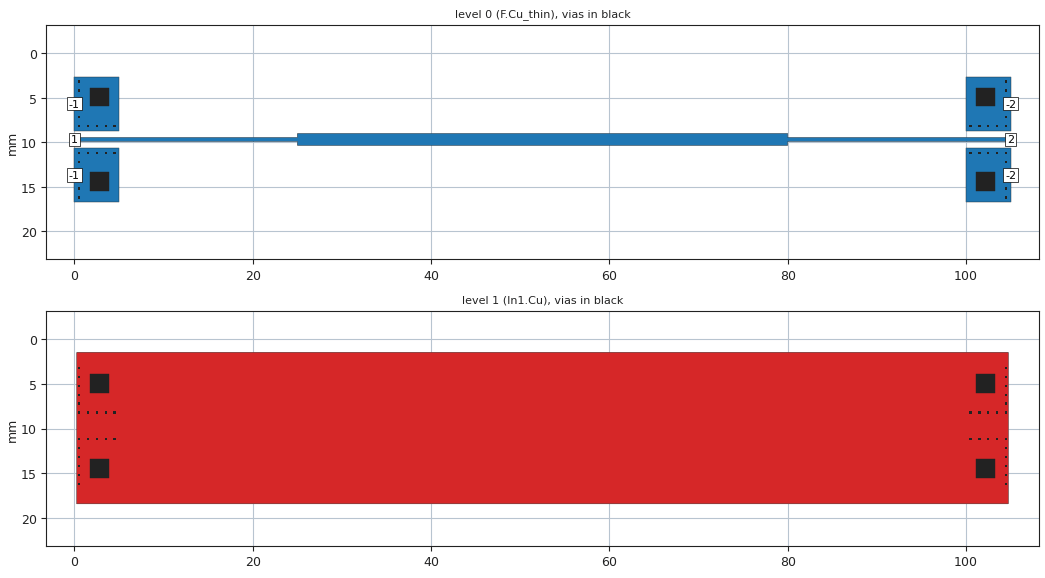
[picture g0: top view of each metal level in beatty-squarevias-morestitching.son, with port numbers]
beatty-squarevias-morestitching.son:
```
FTYP SONPROJ 19 ! Sonnet Project File
VER 18.56
HEADER
LIC antikernel2.1.51813
DAT 12/23/2022 09:48:16
BUILT_BY_CREATED xgeom 18.56 12/18/2022 19:56:31
BUILT_BY_SAVED sonnet 18.56
MDATE 12/23/2022 09:48:16
HDATE 12/23/2022 09:48:16
ANN Created by dxfgeo, Sonnet Software Inc.
END HEADER
DIM
ANG DEG
CAP PF
CON /OH
FREQ GHZ
IND NH
LNG MM
RES OH
END DIM
CONTROL
VARSWP
OPTIONS  -dj
SPEED 1
CACHE_ABS 2
Q_ACC N
END CONTROL
GEO
DRP1 LEFT NONE 5
DRP1 RIGHT NONE 5
TMET "Free Space" 0 FREESPACE 376.7303136 0 0 0
BMET "Free Space" 0 FREESPACE 376.7303136 0 0 0
MET "Copper_1oz+plated_thick_up" 1 TMM 58000000 0.5 0.0432 2
MET "Copper_1oz+plated_thin" 4 NOR 58000000 0.5 0.0432 
MET "Copper_0.5oz_thin" 2 NOR 58000000 0.5 0.0175 
MET "Copper_1oz+plated_thick_down" 3 TMM 58000000 0.5 0.0432 2 CDVY TDWN
BOX 4 105 20 8400 1600 20 0
      10 1 1 0 0 0 0 "Air"
      0.2021 3.61 1 0.0092 0 0 0 "Isola_FR408HR"
      1.1938 3.61 1 0.0092 0 0 0 "Isola_FR408HR"
      0.2021 3.61 1 0.0092 0 0 0 "Isola_FR408HR"
      10 1 1 0 0 0 0 "Air"
TECHLAY METAL F.Cu_thick <UNSPECIFIED> -1 -65534 CAD F.Cu drawing 
0 0 0 N 112 1 1 100 100 0 0 0 Y
END
END
TECHLAY METAL F.Cu_thin L1D0 -2 -65534 CAD F.Cu_thin drawing 
0 0 1 N 114 1 1 100 100 0 0 0 Y
END
END
TECHLAY VIA Via1 L3D0 -7 -65534 CAD Via1 drawing 
VIA POLYGON
0 0 -1 N 153 1 1 100 100 0 0 0 Y
TOLEVEL 3 RING NOCOVERS
END
END
TECHLAY METAL In1.Cu L2D0 -3 -65534 CAD In1.Cu drawing 
1 0 2 N 119 1 1 100 100 0 0 0 Y
END
END
TECHLAY METAL In2.Cu <UNSPECIFIED> -4 -65534 CAD In2.Cu drawing 
2 0 2 N 122 1 1 100 100 0 0 0 Y
END
END
TECHLAY METAL B.Cu_thick <UNSPECIFIED> -5 -65534 CAD B.Cu drawing 
3 0 3 N 125 1 1 100 100 0 0 0 Y
END
END
TECHLAY METAL B.Cu_thin <UNSPECIFIED> -6 -65534 CAD B.Cu_thin drawing 
3 0 1 N 127 1 1 100 100 0 0 0 Y
END
END
LORGN 0 20 U 
POR1 BOX
POLY 10 1
2
-2 50 0 0 0 105 5.7 
POR1 BOX
POLY 7 1
2
-2 50 0 0 0 105 13.7 
POR1 BOX
POLY 6 1
0
-1 50 0 0 0 0 13.7 
POR1 BOX
POLY 8 1
4
1 50 0 0 0 0 9.7 
POR1 BOX
POLY 8 1
14
2 50 0 0 0 105 9.7 
POR1 BOX
POLY 9 1
0
-1 50 0 0 0 0 5.7 
NUM 50
0 5 1 N 10 1 1 100 100 0 0 0 Y
TLAYNAM F.Cu_thin INH
USER_DAT FromImport
100 8.7
100 2.7
105 2.7
105 8.7
100 8.7
END
0 5 1 N 7 1 1 100 100 0 0 0 Y
TLAYNAM F.Cu_thin INH
USER_DAT FromImport
100 16.7
100 10.7
105 10.7
105 16.7
100 16.7
END
0 5 1 N 6 1 1 100 100 0 0 0 Y
TLAYNAM F.Cu_thin INH
USER_DAT FromImport
0 16.7
0 10.7
5 10.7
5 16.7
0 16.7
END
0 21 1 N 8 1 1 100 100 0 0 0 Y
TLAYNAM F.Cu_thin INH
USER_DAT FromImport
25.049 10.375
25.014 10.361
25 10.326
25 9.925
0 9.925
0 9.475
25 9.475
25 9.074
25.014 9.039
25.049 9.025
79.951 9.025
79.986 9.039
80 9.074
80 9.475
105 9.475
105 9.925
80 9.925
80 10.326
79.986 10.361
79.951 10.375
25.049 10.375
END
0 5 1 N 9 1 1 100 100 0 0 0 Y
TLAYNAM F.Cu_thin INH
USER_DAT FromImport
0 8.7
0 2.7
5 2.7
5 8.7
0 8.7
END
VIA POLYGON
0 5 -1 N 91 1 1 100 100 0 0 0 Y
TOLEVEL 3 RING NOCOVERS
TLAYNAM Via1 INH
USER_DAT FromImport
104.375 6.325
104.375 6.075
104.625 6.075
104.625 6.325
104.375 6.325
END
VIA POLYGON
0 5 -1 N 75 1 1 100 100 0 0 0 Y
TOLEVEL 3 RING NOCOVERS
TLAYNAM Via1 INH
USER_DAT FromImport
102.375 11.325
102.375 11.075
102.625 11.075
102.625 11.325
102.375 11.325
END
VIA POLYGON
0 5 -1 N 76 1 1 100 100 0 0 0 Y
TOLEVEL 3 RING NOCOVERS
TLAYNAM Via1 INH
USER_DAT FromImport
103.375 11.325
103.375 11.075
103.625 11.075
103.625 11.325
103.375 11.325
END
VIA POLYGON
0 5 -1 N 62 1 1 100 100 0 0 0 Y
TOLEVEL 3 RING NOCOVERS
TLAYNAM Via1 INH
USER_DAT FromImport
1.75 15.5
1.75 13.4
3.85 13.4
3.85 15.5
1.75 15.5
END
VIA POLYGON
0 5 -1 N 78 1 1 100 100 0 0 0 Y
TOLEVEL 3 RING NOCOVERS
TLAYNAM Via1 INH
USER_DAT FromImport
0.375 8.325
0.375 8.075
0.625 8.075
0.625 8.325
0.375 8.325
END
VIA POLYGON
0 5 -1 N 84 1 1 100 100 0 0 0 Y
TOLEVEL 3 RING NOCOVERS
TLAYNAM Via1 INH
USER_DAT FromImport
101.375 8.325
101.375 8.075
101.625 8.075
101.625 8.325
101.375 8.325
END
VIA POLYGON
0 5 -1 N 87 1 1 100 100 0 0 0 Y
TOLEVEL 3 RING NOCOVERS
TLAYNAM Via1 INH
USER_DAT FromImport
104.375 8.325
104.375 8.075
104.625 8.075
104.625 8.325
104.375 8.325
END
VIA POLYGON
0 5 -1 N 96 1 1 100 100 0 0 0 Y
TOLEVEL 3 RING NOCOVERS
TLAYNAM Via1 INH
USER_DAT FromImport
1.75 6
1.75 3.9
3.85 3.9
3.85 6
1.75 6
END
VIA POLYGON
0 5 -1 N 60 1 1 100 100 0 0 0 Y
TOLEVEL 3 RING NOCOVERS
TLAYNAM Via1 INH
USER_DAT FromImport
0.375 14.325
0.375 14.075
0.625 14.075
0.625 14.325
0.375 14.325
END
VIA POLYGON
0 5 -1 N 79 1 1 100 100 0 0 0 Y
TOLEVEL 3 RING NOCOVERS
TLAYNAM Via1 INH
USER_DAT FromImport
1.375 8.325
1.375 8.075
1.625 8.075
1.625 8.325
1.375 8.325
END
VIA POLYGON
0 5 -1 N 63 1 1 100 100 0 0 0 Y
TOLEVEL 3 RING NOCOVERS
TLAYNAM Via1 INH
USER_DAT FromImport
101.15 15.5
101.15 13.4
103.25 13.4
103.25 15.5
101.15 15.5
END
VIA POLYGON
0 5 -1 N 68 1 1 100 100 0 0 0 Y
TOLEVEL 3 RING NOCOVERS
TLAYNAM Via1 INH
USER_DAT FromImport
0.375 11.325
0.375 11.075
0.625 11.075
0.625 11.325
0.375 11.325
END
VIA POLYGON
0 5 -1 N 56 1 1 100 100 0 0 0 Y
TOLEVEL 3 RING NOCOVERS
TLAYNAM Via1 INH
USER_DAT FromImport
0.375 16.325
0.375 16.075
0.625 16.075
0.625 16.325
0.375 16.325
END
VIA POLYGON
0 5 -1 N 92 1 1 100 100 0 0 0 Y
TOLEVEL 3 RING NOCOVERS
TLAYNAM Via1 INH
USER_DAT FromImport
0.375 5.325
0.375 5.075
0.625 5.075
0.625 5.325
0.375 5.325
END
VIA POLYGON
0 5 -1 N 89 1 1 100 100 0 0 0 Y
TOLEVEL 3 RING NOCOVERS
TLAYNAM Via1 INH
USER_DAT FromImport
104.375 7.325
104.375 7.075
104.625 7.075
104.625 7.325
104.375 7.325
END
VIA POLYGON
0 5 -1 N 98 1 1 100 100 0 0 0 Y
TOLEVEL 3 RING NOCOVERS
TLAYNAM Via1 INH
USER_DAT FromImport
0.375 3.325
0.375 3.075
0.625 3.075
0.625 3.325
0.375 3.325
END
VIA POLYGON
0 5 -1 N 58 1 1 100 100 0 0 0 Y
TOLEVEL 3 RING NOCOVERS
TLAYNAM Via1 INH
USER_DAT FromImport
0.375 15.325
0.375 15.075
0.625 15.075
0.625 15.325
0.375 15.325
END
VIA POLYGON
0 5 -1 N 88 1 1 100 100 0 0 0 Y
TOLEVEL 3 RING NOCOVERS
TLAYNAM Via1 INH
USER_DAT FromImport
0.375 7.325
0.375 7.075
0.625 7.075
0.625 7.325
0.375 7.325
END
VIA POLYGON
0 5 -1 N 67 1 1 100 100 0 0 0 Y
TOLEVEL 3 RING NOCOVERS
TLAYNAM Via1 INH
USER_DAT FromImport
104.375 12.325
104.375 12.075
104.625 12.075
104.625 12.325
104.375 12.325
END
VIA POLYGON
0 5 -1 N 74 1 1 100 100 0 0 0 Y
TOLEVEL 3 RING NOCOVERS
TLAYNAM Via1 INH
USER_DAT FromImport
101.375 11.325
101.375 11.075
101.625 11.075
101.625 11.325
101.375 11.325
END
VIA POLYGON
0 5 -1 N 69 1 1 100 100 0 0 0 Y
TOLEVEL 3 RING NOCOVERS
TLAYNAM Via1 INH
USER_DAT FromImport
1.375 11.325
1.375 11.075
1.625 11.075
1.625 11.325
1.375 11.325
END
VIA POLYGON
0 5 -1 N 99 1 1 100 100 0 0 0 Y
TOLEVEL 3 RING NOCOVERS
TLAYNAM Via1 INH
USER_DAT FromImport
104.375 3.325
104.375 3.075
104.625 3.075
104.625 3.325
104.375 3.325
END
VIA POLYGON
0 5 -1 N 61 1 1 100 100 0 0 0 Y
TOLEVEL 3 RING NOCOVERS
TLAYNAM Via1 INH
USER_DAT FromImport
104.375 14.325
104.375 14.075
104.625 14.075
104.625 14.325
104.375 14.325
END
VIA POLYGON
0 5 -1 N 80 1 1 100 100 0 0 0 Y
TOLEVEL 3 RING NOCOVERS
TLAYNAM Via1 INH
USER_DAT FromImport
2.375 8.325
2.375 8.075
2.625 8.075
2.625 8.325
2.375 8.325
END
VIA POLYGON
0 5 -1 N 65 1 1 100 100 0 0 0 Y
TOLEVEL 3 RING NOCOVERS
TLAYNAM Via1 INH
USER_DAT FromImport
104.375 13.325
104.375 13.075
104.625 13.075
104.625 13.325
104.375 13.325
END
VIA POLYGON
0 5 -1 N 73 1 1 100 100 0 0 0 Y
TOLEVEL 3 RING NOCOVERS
TLAYNAM Via1 INH
USER_DAT FromImport
100.375 11.325
100.375 11.075
100.625 11.075
100.625 11.325
100.375 11.325
END
VIA POLYGON
0 5 -1 N 82 1 1 100 100 0 0 0 Y
TOLEVEL 3 RING NOCOVERS
TLAYNAM Via1 INH
USER_DAT FromImport
4.375 8.325
4.375 8.075
4.625 8.075
4.625 8.325
4.375 8.325
END
VIA POLYGON
0 5 -1 N 71 1 1 100 100 0 0 0 Y
TOLEVEL 3 RING NOCOVERS
TLAYNAM Via1 INH
USER_DAT FromImport
3.375 11.325
3.375 11.075
3.625 11.075
3.625 11.325
3.375 11.325
END
VIA POLYGON
0 5 -1 N 90 1 1 100 100 0 0 0 Y
TOLEVEL 3 RING NOCOVERS
TLAYNAM Via1 INH
USER_DAT FromImport
0.375 6.325
0.375 6.075
0.625 6.075
0.625 6.325
0.375 6.325
END
VIA POLYGON
0 5 -1 N 83 1 1 100 100 0 0 0 Y
TOLEVEL 3 RING NOCOVERS
TLAYNAM Via1 INH
USER_DAT FromImport
100.375 8.325
100.375 8.075
100.625 8.075
100.625 8.325
100.375 8.325
END
VIA POLYGON
0 5 -1 N 66 1 1 100 100 0 0 0 Y
TOLEVEL 3 RING NOCOVERS
TLAYNAM Via1 INH
USER_DAT FromImport
0.375 12.325
0.375 12.075
0.625 12.075
0.625 12.325
0.375 12.325
END
VIA POLYGON
0 5 -1 N 72 1 1 100 100 0 0 0 Y
TOLEVEL 3 RING NOCOVERS
TLAYNAM Via1 INH
USER_DAT FromImport
4.375 11.325
4.375 11.075
4.625 11.075
4.625 11.325
4.375 11.325
END
VIA POLYGON
0 5 -1 N 94 1 1 100 100 0 0 0 Y
TOLEVEL 3 RING NOCOVERS
TLAYNAM Via1 INH
USER_DAT FromImport
0.375 4.325
0.375 4.075
0.625 4.075
0.625 4.325
0.375 4.325
END
VIA POLYGON
0 5 -1 N 81 1 1 100 100 0 0 0 Y
TOLEVEL 3 RING NOCOVERS
TLAYNAM Via1 INH
USER_DAT FromImport
3.375 8.325
3.375 8.075
3.625 8.075
3.625 8.325
3.375 8.325
END
VIA POLYGON
0 5 -1 N 97 1 1 100 100 0 0 0 Y
TOLEVEL 3 RING NOCOVERS
TLAYNAM Via1 INH
USER_DAT FromImport
101.15 6
101.15 3.9
103.25 3.9
103.25 6
101.15 6
END
VIA POLYGON
0 5 -1 N 59 1 1 100 100 0 0 0 Y
TOLEVEL 3 RING NOCOVERS
TLAYNAM Via1 INH
USER_DAT FromImport
104.375 15.325
104.375 15.075
104.625 15.075
104.625 15.325
104.375 15.325
END
VIA POLYGON
0 5 -1 N 93 1 1 100 100 0 0 0 Y
TOLEVEL 3 RING NOCOVERS
TLAYNAM Via1 INH
USER_DAT FromImport
104.375 5.325
104.375 5.075
104.625 5.075
104.625 5.325
104.375 5.325
END
VIA POLYGON
0 5 -1 N 70 1 1 100 100 0 0 0 Y
TOLEVEL 3 RING NOCOVERS
TLAYNAM Via1 INH
USER_DAT FromImport
2.375 11.325
2.375 11.075
2.625 11.075
2.625 11.325
2.375 11.325
END
VIA POLYGON
0 5 -1 N 57 1 1 100 100 0 0 0 Y
TOLEVEL 3 RING NOCOVERS
TLAYNAM Via1 INH
USER_DAT FromImport
104.375 16.325
104.375 16.075
104.625 16.075
104.625 16.325
104.375 16.325
END
VIA POLYGON
0 5 -1 N 77 1 1 100 100 0 0 0 Y
TOLEVEL 3 RING NOCOVERS
TLAYNAM Via1 INH
USER_DAT FromImport
104.375 11.325
104.375 11.075
104.625 11.075
104.625 11.325
104.375 11.325
END
VIA POLYGON
0 5 -1 N 95 1 1 100 100 0 0 0 Y
TOLEVEL 3 RING NOCOVERS
TLAYNAM Via1 INH
USER_DAT FromImport
104.375 4.325
104.375 4.075
104.625 4.075
104.625 4.325
104.375 4.325
END
VIA POLYGON
0 5 -1 N 86 1 1 100 100 0 0 0 Y
TOLEVEL 3 RING NOCOVERS
TLAYNAM Via1 INH
USER_DAT FromImport
103.375 8.325
103.375 8.075
103.625 8.075
103.625 8.325
103.375 8.325
END
VIA POLYGON
0 5 -1 N 64 1 1 100 100 0 0 0 Y
TOLEVEL 3 RING NOCOVERS
TLAYNAM Via1 INH
USER_DAT FromImport
0.375 13.325
0.375 13.075
0.625 13.075
0.625 13.325
0.375 13.325
END
VIA POLYGON
0 5 -1 N 85 1 1 100 100 0 0 0 Y
TOLEVEL 3 RING NOCOVERS
TLAYNAM Via1 INH
USER_DAT FromImport
102.375 8.325
102.375 8.075
102.625 8.075
102.625 8.325
102.375 8.325
END
1 11 2 N 137 1 1 100 100 0 0 0 Y
TLAYNAM In1.Cu INH
USER_DAT FromImport
104.732 18.432
104.75 18.389
104.75 1.512
104.732 1.468
104.689 1.45
0.312 1.45
0.268 1.468
0.25 1.512
0.25 18.45
104.689 18.45
104.732 18.432
END
END GEO
OPT
MAX 100
END OPT
VARSWP
ENABLED Y
FREQ Y AY ABS_ENTRY 0.01 16.0 -1 300 
END
END VARSWP
```
